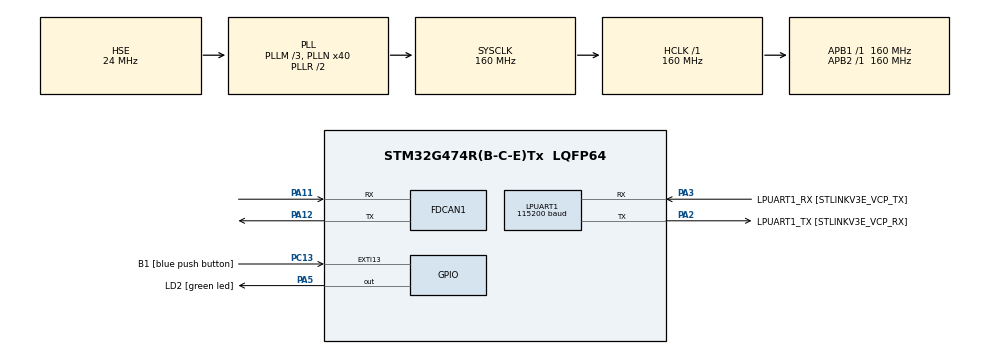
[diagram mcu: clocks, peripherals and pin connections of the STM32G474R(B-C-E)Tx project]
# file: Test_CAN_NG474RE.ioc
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FDCAN1.AutoRetransmission=ENABLE
FDCAN1.DataPrescaler=8
FDCAN1.DataTimeSeg1=5
FDCAN1.DataTimeSeg2=4
FDCAN1.NominalPrescaler=2
FDCAN1.NominalSyncJumpWidth=1
FDCAN1.NominalTimeSeg1=63
FDCAN1.NominalTimeSeg2=16
FDCAN1.StdFiltersNbr=1
FDCAN1.TransmitPause=ENABLE
LPUART1.BaudRate=115200
LPUART1.WordLength=UART_WORDLENGTH_8B
Mcu.Family=STM32G4
Mcu.Name=STM32G474R(B-C-E)Tx
Mcu.Package=LQFP64
NVIC.EXTI15_10_IRQn=true\:0\:0\:false\:false\:true\:true\:true
NVIC.PriorityGroup=NVIC_PRIORITYGROUP_4
PA11.Mode=FDCANMaster
PA11.Signal=FDCAN1_RX
PA12.Mode=FDCANMaster
PA12.Signal=FDCAN1_TX
PA13.GPIO_Label=T_SWDIO
PA13.Mode=Serial_Wire
PA13.Signal=SYS_JTMS-SWDIO
PA14.GPIO_Label=T_SWCLK
PA14.Mode=Serial_Wire
PA14.Signal=SYS_JTCK-SWCLK
PA2.GPIO_Label=LPUART1_TX [STLINKV3E_VCP_RX]
PA2.Mode=Asynchronous
PA2.Signal=LPUART1_TX
PA3.GPIO_Label=LPUART1_RX [STLINKV3E_VCP_TX]
PA3.Mode=Asynchronous
PA3.Signal=LPUART1_RX
PA5.GPIO_Label=LD2 [green led]
PA5.Signal=GPIO_Output
PB3.GPIO_Label=T_SWO
PB3.Signal=SYS_JTDO-SWO
PC13.GPIO_Label=B1 [blue push button]
PC13.Signal=GPXTI13
PC14-OSC32_IN.Mode=LSE-External-Oscillator
PC14-OSC32_IN.Signal=RCC_OSC32_IN
PC15-OSC32_OUT.Mode=LSE-External-Oscillator
PC15-OSC32_OUT.Signal=RCC_OSC32_OUT
PF0-OSC_IN.Mode=HSE-External-Oscillator
PF0-OSC_IN.Signal=RCC_OSC_IN
PF1-OSC_OUT.Mode=HSE-External-Oscillator
PF1-OSC_OUT.Signal=RCC_OSC_OUT
ProjectManager.HeapSize=0x200
ProjectManager.StackSize=0x400
ProjectManager.TargetToolchain=STM32CubeIDE
RCC.ADC12Freq_Value=160000000
RCC.ADC345Freq_Value=160000000
RCC.AHBFreq_Value=160000000
RCC.APB1Freq_Value=160000000
RCC.APB1TimFreq_Value=160000000
RCC.APB2Freq_Value=160000000
RCC.APB2TimFreq_Value=160000000
RCC.CortexFreq_Value=160000000
RCC.EXTERNAL_CLOCK_VALUE=12288000
RCC.FDCANCLockSelection=RCC_FDCANCLKSOURCE_PLL
RCC.HCLKFreq_Value=160000000
RCC.HSE_VALUE=24000000
RCC.HSI48_VALUE=48000000
RCC.HSI_VALUE=16000000
RCC.PLLM=RCC_PLLM_DIV3
RCC.PLLN=40
RCC.PLLQ=RCC_PLLQ_DIV4
RCC.PLLSourceVirtual=RCC_PLLSOURCE_HSE
RCC.RTCClockSelection=RCC_RTCCLKSOURCE_LSE
RCC.SYSCLKFreq_VALUE=160000000
RCC.SYSCLKSource=RCC_SYSCLKSOURCE_PLLCLK
RCC.USBFreq_Value=80000000
RCC.VCOOutputFreq_Value=320000000
VP_SYS_VS_DBSignals.Mode=DisableDeadBatterySignals
board=NUCLEO-G474RE

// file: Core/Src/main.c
/* USER CODE BEGIN Header */
/**
  ******************************************************************************
  * @file           : main.c
  * @brief          : Main program body
  ******************************************************************************
  * @attention
  *
  * <h2><center>&copy; Copyright (c) 2020 STMicroelectronics.
  * All rights reserved.</center></h2>
  *
  * This software component is licensed by ST under BSD 3-Clause license,
  * the "License"; You may not use this file except in compliance with the
  * License. You may obtain a copy of the License at:
  *                        opensource.org/licenses/BSD-3-Clause
  *
  ******************************************************************************
  */
/* USER CODE END Header */

#include "main.h"

FDCAN_HandleTypeDef hfdcan1;

UART_HandleTypeDef hlpuart1;

/* USER CODE BEGIN PV */
FDCAN_TxHeaderTypeDef   TxHeader;
FDCAN_RxHeaderTypeDef   RxHeader;
HAL_FDCAN_StateTypeDef myCanState;
HAL_StatusTypeDef myState;
uint8_t myTxData[8];
uint8_t RxData[8];
uint32_t my_Data_Can;

/* USER CODE END PV */

void SystemClock_Config(void);
static void MX_GPIO_Init(void);
static void MX_LPUART1_UART_Init(void);
static void MX_FDCAN1_Init(void);

int main(void)
{

  /* MCU Configuration--------------------------------------------------------*/

  /* Reset of all peripherals, Initializes the Flash interface and the Systick. */
  HAL_Init();

  /* Configure the system clock */
  SystemClock_Config();

  /* Initialize all configured peripherals */
  MX_GPIO_Init();
  MX_LPUART1_UART_Init();
  MX_FDCAN1_Init();

  /* Infinite loop */
  while (1)
  {

    /* USER CODE BEGIN 3 */
	  my_Data_Can++;
	  myTxData[0] = my_Data_Can;
	  myTxData[1] = my_Data_Can >> 8;
	  myTxData[2] = my_Data_Can >> 16;
	  myTxData[3] = my_Data_Can >> 24;
	  myCanState = HAL_FDCAN_GetState(&hfdcan1);
	  HAL_GPIO_TogglePin(LD2_GPIO_Port, LD2_Pin);
	  HAL_Delay(1);
	  //if (myCanState == HAL_FDCAN_STATE_READY)
	  //{
		  myState = HAL_FDCAN_AddMessageToTxFifoQ(&hfdcan1, &TxHeader, myTxData);
	  //}

  }
  /* USER CODE END 3 */
}

void SystemClock_Config(void)
{
  RCC_OscInitTypeDef RCC_OscInitStruct = {0};
  RCC_ClkInitTypeDef RCC_ClkInitStruct = {0};
  RCC_PeriphCLKInitTypeDef PeriphClkInit = {0};

  /** Configure the main internal regulator output voltage
  */
  HAL_PWREx_ControlVoltageScaling(PWR_REGULATOR_VOLTAGE_SCALE1_BOOST);
  /** Initializes the CPU, AHB and APB busses clocks
  */
  RCC_OscInitStruct.OscillatorType = RCC_OSCILLATORTYPE_HSE;
  RCC_OscInitStruct.HSEState = RCC_HSE_ON;
  RCC_OscInitStruct.PLL.PLLState = RCC_PLL_ON;
  RCC_OscInitStruct.PLL.PLLSource = RCC_PLLSOURCE_HSE;
  RCC_OscInitStruct.PLL.PLLM = RCC_PLLM_DIV3;
  RCC_OscInitStruct.PLL.PLLN = 40;
  RCC_OscInitStruct.PLL.PLLP = RCC_PLLP_DIV2;
  RCC_OscInitStruct.PLL.PLLQ = RCC_PLLQ_DIV4;
  RCC_OscInitStruct.PLL.PLLR = RCC_PLLR_DIV2;
  if (HAL_RCC_OscConfig(&RCC_OscInitStruct) != HAL_OK)
  {
    Error_Handler();
  }
  /** Initializes the CPU, AHB and APB busses clocks
  */
  RCC_ClkInitStruct.ClockType = RCC_CLOCKTYPE_HCLK|RCC_CLOCKTYPE_SYSCLK
                              |RCC_CLOCKTYPE_PCLK1|RCC_CLOCKTYPE_PCLK2;
  RCC_ClkInitStruct.SYSCLKSource = RCC_SYSCLKSOURCE_PLLCLK;
  RCC_ClkInitStruct.AHBCLKDivider = RCC_SYSCLK_DIV1;
  RCC_ClkInitStruct.APB1CLKDivider = RCC_HCLK_DIV1;
  RCC_ClkInitStruct.APB2CLKDivider = RCC_HCLK_DIV1;

  if (HAL_RCC_ClockConfig(&RCC_ClkInitStruct, FLASH_LATENCY_7) != HAL_OK)
  {
    Error_Handler();
  }
  /** Initializes the peripherals clocks
  */
  PeriphClkInit.PeriphClockSelection = RCC_PERIPHCLK_LPUART1|RCC_PERIPHCLK_FDCAN;
  PeriphClkInit.Lpuart1ClockSelection = RCC_LPUART1CLKSOURCE_PCLK1;
  PeriphClkInit.FdcanClockSelection = RCC_FDCANCLKSOURCE_PLL;
  if (HAL_RCCEx_PeriphCLKConfig(&PeriphClkInit) != HAL_OK)
  {
    Error_Handler();
  }
}

static void MX_FDCAN1_Init(void)
{

  hfdcan1.Instance = FDCAN1;
  hfdcan1.Init.ClockDivider = FDCAN_CLOCK_DIV1;
  hfdcan1.Init.FrameFormat = FDCAN_FRAME_CLASSIC;
  hfdcan1.Init.Mode = FDCAN_MODE_NORMAL;
  hfdcan1.Init.AutoRetransmission = ENABLE;
  hfdcan1.Init.TransmitPause = ENABLE;
  hfdcan1.Init.ProtocolException = DISABLE;
  hfdcan1.Init.NominalPrescaler = 2;
  hfdcan1.Init.NominalSyncJumpWidth = 1;
  hfdcan1.Init.NominalTimeSeg1 = 63;
  hfdcan1.Init.NominalTimeSeg2 = 16;
  hfdcan1.Init.DataPrescaler = 8;
  hfdcan1.Init.DataSyncJumpWidth = 1;
  hfdcan1.Init.DataTimeSeg1 = 5;
  hfdcan1.Init.DataTimeSeg2 = 4;
  hfdcan1.Init.StdFiltersNbr = 1;
  hfdcan1.Init.ExtFiltersNbr = 0;
  hfdcan1.Init.TxFifoQueueMode = FDCAN_TX_FIFO_OPERATION;
  if (HAL_FDCAN_Init(&hfdcan1) != HAL_OK)
  {
    Error_Handler();
  }
  /* USER CODE BEGIN FDCAN1_Init 2 */

	FDCAN_FilterTypeDef sFilterConfig;

	sFilterConfig.IdType = FDCAN_STANDARD_ID;
	sFilterConfig.FilterIndex = 0;
	sFilterConfig.FilterType = FDCAN_FILTER_MASK;
	sFilterConfig.FilterConfig = FDCAN_FILTER_TO_RXFIFO0;
	sFilterConfig.FilterID1 = 0x321;
	sFilterConfig.FilterID2 = 0x7FF;

	if(HAL_FDCAN_ConfigFilter(&hfdcan1, &sFilterConfig) != HAL_OK)
	{
		Error_Handler();
	}

	if(HAL_FDCAN_ConfigGlobalFilter(&hfdcan1, FDCAN_REJECT, FDCAN_REJECT, FDCAN_FILTER_REMOTE, FDCAN_FILTER_REMOTE) != HAL_OK)
	{
		Error_Handler();
	}

	if(HAL_FDCAN_Start(&hfdcan1) != HAL_OK)
	{
		Error_Handler();
	}

	if(HAL_FDCAN_ActivateNotification(&hfdcan1, FDCAN_IT_RX_FIFO0_NEW_MESSAGE, 0) != HAL_OK)
	{
		Error_Handler();
	}

	TxHeader.Identifier = 0x123;
	TxHeader.IdType = FDCAN_STANDARD_ID;
	TxHeader.TxFrameType = FDCAN_DATA_FRAME;
	TxHeader.DataLength = FDCAN_DLC_BYTES_8;
	TxHeader.ErrorStateIndicator = FDCAN_ESI_ACTIVE;
	TxHeader.BitRateSwitch = FDCAN_BRS_OFF;
	TxHeader.FDFormat = FDCAN_CLASSIC_CAN;
	TxHeader.TxEventFifoControl = FDCAN_NO_TX_EVENTS;
	TxHeader.MessageMarker = 0;

  /* USER CODE END FDCAN1_Init 2 */

}

static void MX_LPUART1_UART_Init(void)
{

  hlpuart1.Instance = LPUART1;
  hlpuart1.Init.BaudRate = 115200;
  hlpuart1.Init.WordLength = UART_WORDLENGTH_8B;
  hlpuart1.Init.StopBits = UART_STOPBITS_1;
  hlpuart1.Init.Parity = UART_PARITY_NONE;
  hlpuart1.Init.Mode = UART_MODE_TX_RX;
  hlpuart1.Init.HwFlowCtl = UART_HWCONTROL_NONE;
  hlpuart1.Init.OneBitSampling = UART_ONE_BIT_SAMPLE_DISABLE;
  hlpuart1.AdvancedInit.AdvFeatureInit = UART_ADVFEATURE_NO_INIT;
  if (HAL_UART_Init(&hlpuart1) != HAL_OK)
  {
    Error_Handler();
  }
  if (HAL_UARTEx_SetTxFifoThreshold(&hlpuart1, UART_TXFIFO_THRESHOLD_1_8) != HAL_OK)
  {
    Error_Handler();
  }
  if (HAL_UARTEx_SetRxFifoThreshold(&hlpuart1, UART_RXFIFO_THRESHOLD_1_8) != HAL_OK)
  {
    Error_Handler();
  }
  if (HAL_UARTEx_DisableFifoMode(&hlpuart1) != HAL_OK)
  {
    Error_Handler();
  }

}

static void MX_GPIO_Init(void)
{
  GPIO_InitTypeDef GPIO_InitStruct = {0};

  /* GPIO Ports Clock Enable */
  __HAL_RCC_GPIOC_CLK_ENABLE();
  __HAL_RCC_GPIOF_CLK_ENABLE();
  __HAL_RCC_GPIOA_CLK_ENABLE();
  __HAL_RCC_GPIOB_CLK_ENABLE();

  /*Configure GPIO pin Output Level */
  HAL_GPIO_WritePin(LD2_GPIO_Port, LD2_Pin, GPIO_PIN_RESET);

  /*Configure GPIO pin : B1_Pin */
  GPIO_InitStruct.Pin = B1_Pin;
  GPIO_InitStruct.Mode = GPIO_MODE_IT_RISING;
  GPIO_InitStruct.Pull = GPIO_NOPULL;
  HAL_GPIO_Init(B1_GPIO_Port, &GPIO_InitStruct);

  /*Configure GPIO pin : LD2_Pin */
  GPIO_InitStruct.Pin = LD2_Pin;
  GPIO_InitStruct.Mode = GPIO_MODE_OUTPUT_PP;
  GPIO_InitStruct.Pull = GPIO_NOPULL;
  GPIO_InitStruct.Speed = GPIO_SPEED_FREQ_LOW;
  HAL_GPIO_Init(LD2_GPIO_Port, &GPIO_InitStruct);

  /* EXTI interrupt init*/
  HAL_NVIC_SetPriority(EXTI15_10_IRQn, 0, 0);
  HAL_NVIC_EnableIRQ(EXTI15_10_IRQn);

}

/* USER CODE BEGIN 4 */

/**
  * @brief  Rx FIFO 0 callback.
  * @param  hfdcan: pointer to an FDCAN_HandleTypeDef structure that contains
  *         the configuration information for the specified FDCAN.
  * @param  RxFifo0ITs: indicates which Rx FIFO 0 interrupts are signalled.
  *         This parameter can be any combination of @arg FDCAN_Rx_Fifo0_Interrupts.
  * @retval None
  */
void HAL_FDCAN_RxFifo0Callback(FDCAN_HandleTypeDef *hfdcan, uint32_t RxFifo0ITs)
{
  if((RxFifo0ITs & FDCAN_IT_RX_FIFO0_NEW_MESSAGE) != RESET)
  {
    /* Retrieve Rx messages from RX FIFO0 */
    if (HAL_FDCAN_GetRxMessage(hfdcan, FDCAN_RX_FIFO0, &RxHeader, RxData) != HAL_OK)
    {
    Error_Handler();
    }
    HAL_GPIO_TogglePin(LD2_GPIO_Port, LD2_Pin);
    /* Display LEDx */
    if ((RxHeader.Identifier == 0x321) && (RxHeader.IdType == FDCAN_STANDARD_ID) && (RxHeader.DataLength == FDCAN_DLC_BYTES_2))
    {
      //LED_Display(RxData[0]);
      //ubKeyNumber = RxData[0];
    }
  }
}
/* USER CODE END 4 */

void Error_Handler(void)
{
}

/************************ (C) COPYRIGHT STMicroelectronics *****END OF FILE****/
